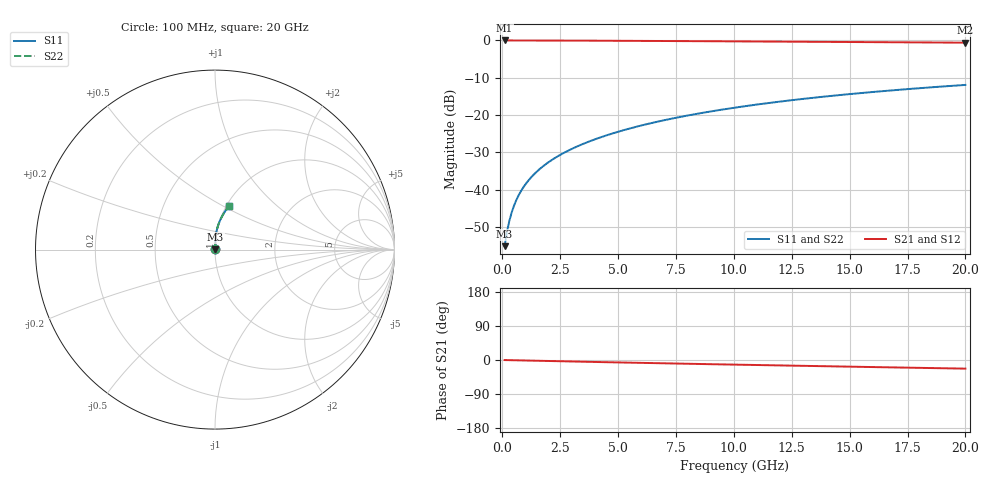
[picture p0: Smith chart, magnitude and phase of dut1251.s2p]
! Touchstone file exported from HFSS 2024.1.0
!  File:  C:/UserFiles/LocalFiles/RDL_TSV_Batchsim/temp_RDL_bottom_1251_1780245384.aedt
!  Generated:  12:39:12 AM Jun  1, 2026
!  Design:  RDL_bottom
!  Project:  temp_RDL_bottom_1251_1780245384
!  Setup:  Setup1
!  Solution:  Sweep
! Variables:
!  dtsv = 10.80580581um
!  hbump = 3um
!  htsv = 69.13um
!  ldown = 278.29um
!  lrdl = 100um
!  p = 40
!  p1 = 56.06um
!  rhole = 1um
!  t = 450um
!  tdown = 4.33um
!  trdl = 3.915915916um
!  wdown = 21.5um
!  wrdl = 20um
# GHz S MA R 50.000000
! Terminal data exported
! Port[1] = RDL1_T1
! Port[2] = RDL1_T2
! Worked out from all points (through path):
!   200 points, 100 MHz to 20 GHz, reference 50 ohm
!   highest |S21| = -0.01 dB at 100 MHz (marker M1); lowest = -0.6 dB at 20 GHz (marker M2)
!   group delay of S21, straight-line fit = 3.13 ps
!   lowest |S11| = -55.2 dB at 100 MHz (marker M3), VSWR 1.00, Z = 50.1 + j0.123 ohm
!   |S11| at or under -10 dB: start of sweep to end of sweep
!   |S22| runs from -55.2 to -11.9 dB; largest |S21 - S12| = 8.1e-15
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0.1  0.001741 45.0  0.9988 -0.1  0.9988 -0.1  0.001741 45.0
! Gamma 0 0 0 0
! Port Impedance 50 0 50 0
0.2  0.002676 62.9  0.9987 -0.3  0.9987 -0.3  0.002676 62.9
0.3  0.003751 70.9  0.9986 -0.4  0.9986 -0.4  0.003751 70.9
0.4  0.004871 75.3  0.9985 -0.5  0.9985 -0.5  0.004871 75.3
0.5  0.006009 77.9  0.9985 -0.7  0.9985 -0.7  0.006009 77.9
0.6  0.007154 79.8  0.9984 -0.8  0.9984 -0.8  0.007154 79.8
0.8  0.009453 82.0  0.9982 -1.1  0.9982 -1.1  0.009453 82.0
1.1  0.0129 83.9  0.9979 -1.5  0.9979 -1.5  0.0129 83.9
1.5  0.01751 85.3  0.9975 -2.0  0.9975 -2.0  0.01751 85.3
1.8  0.02098 85.9  0.997 -2.4  0.997 -2.4  0.02098 85.9
2.1  0.02447 86.4  0.9965 -2.8  0.9965 -2.8  0.02447 86.4
2.7  0.03151 87.0  0.9953 -3.5  0.9953 -3.5  0.03151 87.0
3.5  0.04107 87.4  0.9933 -4.6  0.9933 -4.6  0.04107 87.4
4.2  0.0496 87.5  0.9914 -5.4  0.9914 -5.4  0.0496 87.5
5  0.05955 87.4  0.9889 -6.4  0.9889 -6.4  0.05955 87.4
5.9  0.07097 87.0  0.9859 -7.5  0.9859 -7.5  0.07097 87.0
6.8  0.08258 86.4  0.9828 -8.6  0.9828 -8.6  0.08258 86.4
8.4  0.1036 85.2  0.9771 -10.4  0.9771 -10.4  0.1036 85.2
10.1  0.1262 83.5  0.9709 -12.3  0.9709 -12.3  0.1262 83.5
13.4  0.1698 79.8  0.9588 -15.9  0.9588 -15.9  0.1698 79.8
16.7  0.2123 76.0  0.9462 -19.4  0.9462 -19.4  0.2123 76.0
20  0.253 72.2  0.9331 -22.8  0.9331 -22.8  0.253 72.2
